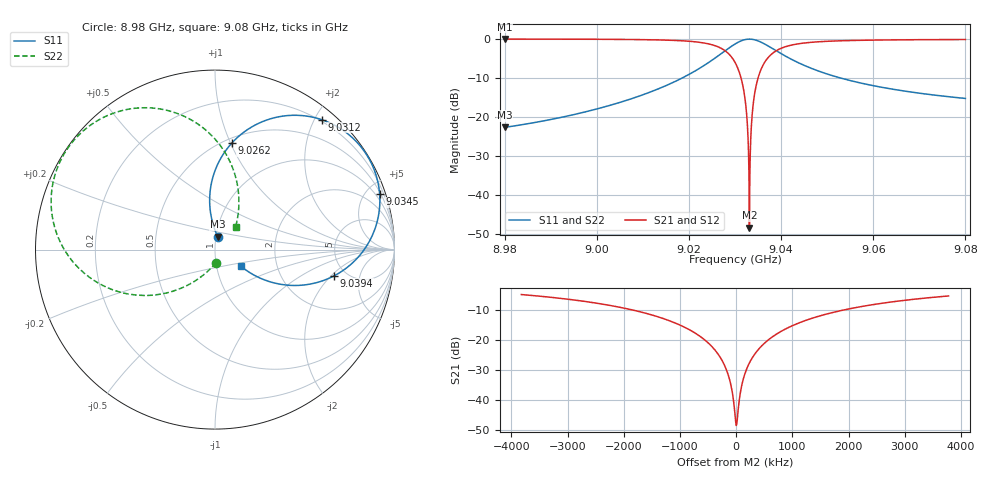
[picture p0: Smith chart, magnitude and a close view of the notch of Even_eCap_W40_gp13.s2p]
! Sonnet Data File
! From: emgraph Version : 16.52
! From Project: Resonator2_extremeCap
! Data is De-embedded
! Data File Written: 10/10/2017 20:29:22
!< HDATE 10/09/2017 23:04:37
!< MDATE 10/09/2017 23:04:37
!< PARAMS
!< Pwid1 = 2000.0
!< Pwid2 = 2000.0
!< Air_gap = 24.0
!< Width = 40.0
!< Gap = 13.0
!< END PARAMS
# GHZ S MA R 51.80000
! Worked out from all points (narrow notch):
!   1596 points, 8.98 GHz to 9.08 GHz, reference 51.8 ohm
!   highest |S21| = -0.02 dB at 8.98 GHz (marker M1); lowest = -48.4 dB at 9.0331 GHz (marker M2)
!   notch at M2: 47.4 dB deep, 645 kHz wide at half that depth
!   lowest |S11| = -22.7 dB at 8.98 GHz (marker M3), VSWR 1.16, Z = 52.9 + j7.62 ohm
!   |S11| at or under -10 dB: start of sweep to 9.018557 GHz; 9.052857 GHz to end of sweep
!   |S22| runs from -22.7 to 0.0 dB; largest |S21 - S12| = 0
!   S11 on the Smith chart (normalised r, x): 8.98 GHz: 1.02, +0.15; 9.0262 GHz: 0.55, +1.01; 9.0312 GHz: 0.18, +2.10; 9.0345 GHz: 0.62, +6.04; 9.0394 GHz: 4.02, -2.18; 9.08 GHz: 1.31, -0.25
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8.98  0.07336 77.8  0.9973 -93.9  0.9973 -93.9  0.0733 -85.7
!< P1 F=8.98 Eeff=(6.44310582 -2.9702e-5) Z0=(50.4815179 1.16466e-4) R=0.0 C=0.0
!< P2 F=8.98 Eeff=(6.44310582 -2.9702e-5) Z0=(50.4815179 1.16466e-4) R=0.0 C=0.0
8.9967  0.113 90.8  0.9935 -96.8  0.9935 -96.8  0.1129 -104.5
9.0134  0.2296 96.9  0.973 -104.1  0.973 -104.1  0.2295 -125.3
9.0212  0.3844 92.5  0.9224 -113.7  0.9224 -113.7  0.3842 -140.1
9.0262  0.5989 81.1  0.799 -128.0  0.799 -128.0  0.5987 -157.4
9.03  0.8618 60.2  0.5017 -150.8  0.5017 -150.8  0.8614 177.4
9.031159  0.937 50.6  0.3398 -160.8  0.3398 -160.8  0.9367 166.5
9.032  0.976 42.7  0.2012 -168.7  0.2012 -168.7  0.9756 157.8
9.0326  0.9919 36.9  0.09516 -173.6  0.09516 -173.6  0.9915 151.3
9.032928  0.9958 33.7  0.03613 -173.3  0.03613 -173.3  0.9954 147.8
9.032999  0.9962 33.0  0.02333 -170.7  0.02333 -170.7  0.9958 147.0
9.0331  0.9964 32.0  0.006131 -143.3  0.006131 -143.3  0.996 145.9
9.033124  0.9964 31.7  0.003791 -99.3  0.003791 -99.3  0.9961 145.6
9.033309  0.9959 29.9  0.03294 -9.8  0.03294 -9.8  0.9955 143.6
9.033508  0.9941 28.0  0.0685 -8.4  0.0685 -8.4  0.9937 141.5
9.033905  0.9869 24.1  0.1381 -10.8  0.1381 -10.8  0.9866 137.2
9.0345  0.9679 18.6  0.2377 -16.0  0.2377 -16.0  0.9676 131.1
9.036201  0.8771 4.8  0.4749 -30.1  0.4749 -30.1  0.8768 115.7
9.0394  0.6805 -12.4  0.7307 -48.6  0.7307 -48.6  0.6803 95.5
9.0467  0.4172 -27.7  0.9083 -67.0  0.9083 -67.0  0.417 73.9
9.0634  0.2312 -33.5  0.9728 -78.6  0.9728 -78.6  0.2311 56.3
9.08  0.1726 -32.8  0.9849 -82.3  0.9849 -82.3  0.1726 48.1
